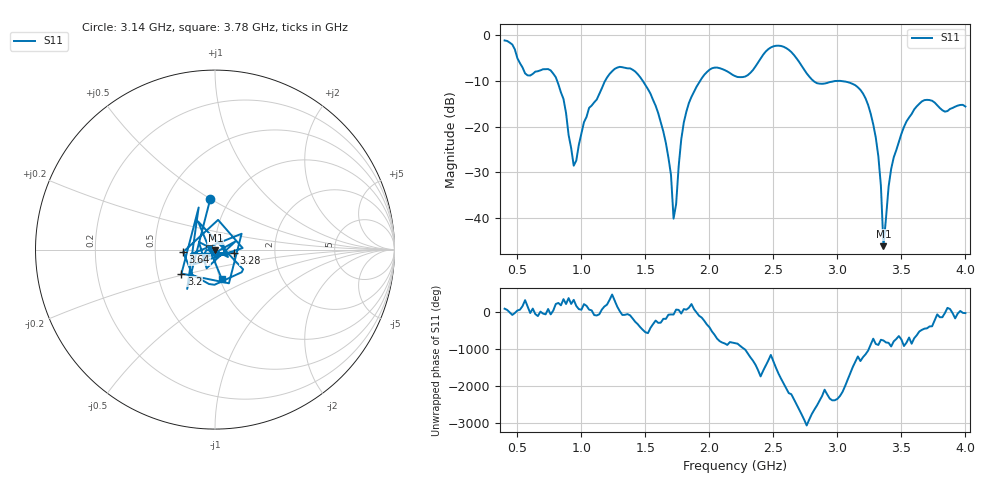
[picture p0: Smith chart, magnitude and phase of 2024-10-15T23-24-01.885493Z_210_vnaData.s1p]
! Created with skrf (http://scikit-rf.org).
# Hz S RI R 50.0
!freq ReS11 ImS11
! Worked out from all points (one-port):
!   181 points, 400 MHz to 4 GHz, reference 50 ohm
!   lowest |S11| = -46.1 dB at 3.36 GHz (marker M1), VSWR 1.01, Z = 50.3 - j0.42 ohm
!   |S11| at or under -10 dB: 810.1 MHz to 1.186 GHz (375.6 MHz wide, 37.6 % of centre); 1.479 GHz to 1.928 GHz (449.1 MHz wide, 26.4 % of centre); 2.812 GHz to end of sweep
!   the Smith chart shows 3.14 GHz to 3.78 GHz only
!   S11 on the Smith chart (normalised r, x): 3.14 GHz: 0.81, +0.50; 3.2 GHz: 0.66, -0.19; 3.28 GHz: 1.23, -0.04; 3.64 GHz: 0.70, -0.02; 3.78 GHz: 1.02, -0.35
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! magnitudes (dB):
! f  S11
! 400 MHz  -1.2
! 580 MHz  -8.8
! 760 MHz  -7.7
! 860 MHz  -14.0
! 940 MHz  -28.5
! 1.06 GHz  -15.9
! 1.3 GHz  -7.0
! 1.58 GHz  -15.5
! 1.68 GHz  -26.8
! 1.72 GHz  -40.1
! 1.76 GHz  -28.6
! 1.82 GHz  -16.7
! 1.92 GHz  -10.4
! 2.2 GHz  -9.0
! 2.5 GHz  -2.5
! 2.66 GHz  -4.4
! 2.84 GHz  -10.5
! 3.1 GHz  -10.5
! 3.14 GHz  -11.0
! 3.2 GHz  -12.8
! 3.28 GHz  -19.5
! 3.34 GHz  -32.9
! 3.36 GHz  -46.1
! 3.42 GHz  -29.2
! 3.56 GHz  -18.0
! 3.64 GHz  -15.0
! 3.78 GHz  -15.3
! 4 GHz  -15.6
